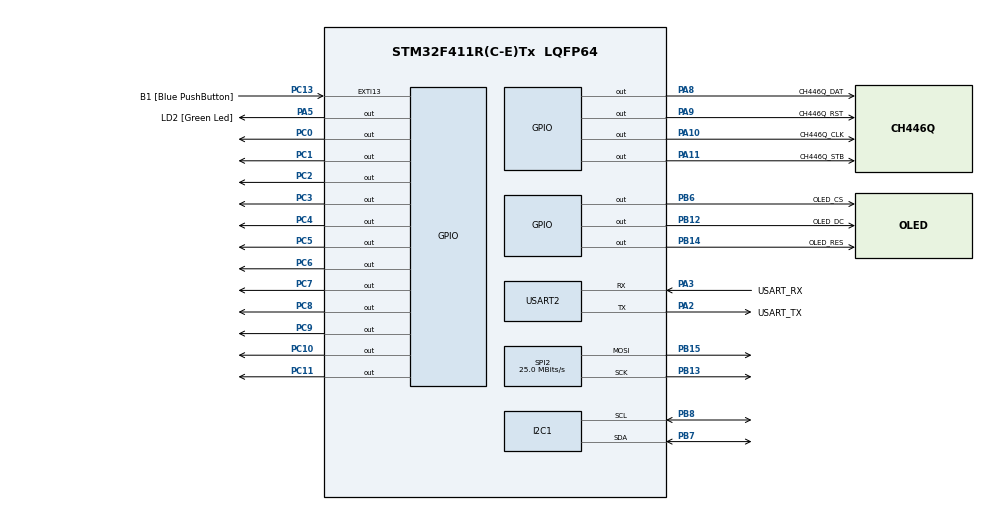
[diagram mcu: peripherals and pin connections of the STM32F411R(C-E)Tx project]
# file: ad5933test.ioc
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FREERTOS.BinarySemaphores01=myBinarySem01,Dynamic,NULL;myBinarySem02,Dynamic,NULL
FREERTOS.Tasks01=defaultTask,8,128,StartDefaultTask,Default,NULL,Dynamic,NULL,NULL;myTask02,48,1024,StartTask02,Default,NULL,Dynamic,NULL,NULL;myTask03,24,1024,StartTask03,Default,NULL,Dynamic,NULL,NULL;myTask04,8,1024,StartTask04,Default,NULL,Dynamic,NULL,NULL
FREERTOS.configUSE_NEWLIB_REENTRANT=1
Mcu.Family=STM32F4
Mcu.Name=STM32F411R(C-E)Tx
Mcu.Package=LQFP64
NVIC.PriorityGroup=NVIC_PRIORITYGROUP_4
NVIC.USART2_IRQn=true\:8\:0\:true\:false\:true\:true\:true\:true\:true
PA10.GPIO_Label=CH446Q_CLK
PA10.GPIO_PuPd=GPIO_PULLUP
PA10.Signal=GPIO_Output
PA11.GPIO_Label=CH446Q_STB
PA11.GPIO_PuPd=GPIO_PULLUP
PA11.Signal=GPIO_Output
PA13.GPIO_Label=TMS
PA13.Mode=Serial_Wire
PA13.Signal=SYS_JTMS-SWDIO
PA14.GPIO_Label=TCK
PA14.Mode=Serial_Wire
PA14.Signal=SYS_JTCK-SWCLK
PA2.GPIO_Label=USART_TX
PA2.Mode=Asynchronous
PA2.Signal=USART2_TX
PA3.GPIO_Label=USART_RX
PA3.Mode=Asynchronous
PA3.Signal=USART2_RX
PA5.GPIO_Label=LD2 [Green Led]
PA5.Signal=GPIO_Output
PA8.GPIO_Label=CH446Q_DAT
PA8.GPIO_PuPd=GPIO_PULLUP
PA8.Signal=GPIO_Output
PA9.GPIO_Label=CH446Q_RST
PA9.GPIO_PuPd=GPIO_PULLUP
PA9.Signal=GPIO_Output
PB12.GPIO_Label=OLED_DC
PB12.GPIO_PuPd=GPIO_PULLUP
PB12.GPIO_Speed=GPIO_SPEED_FREQ_VERY_HIGH
PB12.Signal=GPIO_Output
PB13.Mode=TX_Only_Simplex_Unidirect_Master
PB13.Signal=SPI2_SCK
PB14.GPIO_Label=OLED_RES
PB14.GPIO_PuPd=GPIO_PULLUP
PB14.GPIO_Speed=GPIO_SPEED_FREQ_VERY_HIGH
PB14.Signal=GPIO_Output
PB15.Mode=TX_Only_Simplex_Unidirect_Master
PB15.Signal=SPI2_MOSI
PB3.GPIO_Label=SWO
PB3.Signal=SYS_JTDO-SWO
PB6.GPIO_Label=OLED_CS
PB6.GPIO_PuPd=GPIO_PULLUP
PB6.Signal=GPIO_Output
PB7.Mode=I2C
PB7.Signal=I2C1_SDA
PB8.Mode=I2C
PB8.Signal=I2C1_SCL
PC0.GPIO_PuPd=GPIO_PULLUP
PC0.GPIO_Speed=GPIO_SPEED_FREQ_HIGH
PC0.Signal=GPIO_Output
PC1.GPIO_PuPd=GPIO_PULLUP
PC1.GPIO_Speed=GPIO_SPEED_FREQ_HIGH
PC1.Signal=GPIO_Output
PC10.Signal=GPIO_Output
PC11.Signal=GPIO_Output
PC13-ANTI_TAMP.GPIO_Label=B1 [Blue PushButton]
PC13-ANTI_TAMP.GPIO_ModeDefaultEXTI=GPIO_MODE_IT_FALLING
PC13-ANTI_TAMP.Signal=GPXTI13
PC14-OSC32_IN.Mode=LSE-External-Oscillator
PC14-OSC32_IN.Signal=RCC_OSC32_IN
PC15-OSC32_OUT.Mode=LSE-External-Oscillator
PC15-OSC32_OUT.Signal=RCC_OSC32_OUT
PC2.GPIO_PuPd=GPIO_PULLUP
PC2.Signal=GPIO_Output
PC3.GPIO_PuPd=GPIO_PULLUP
PC3.Signal=GPIO_Output
PC4.GPIO_PuPd=GPIO_PULLUP
PC4.Signal=GPIO_Output
PC5.GPIO_PuPd=GPIO_PULLUP
PC5.Signal=GPIO_Output
PC6.GPIO_PuPd=GPIO_PULLUP
PC6.Signal=GPIO_Output
PC7.GPIO_PuPd=GPIO_PULLUP
PC7.Signal=GPIO_Output
PC8.Signal=GPIO_Output
PC9.Signal=GPIO_Output
PH0\ -\ OSC_IN.Mode=HSE-External-Clock-Source
PH0\ -\ OSC_IN.Signal=RCC_OSC_IN
PH1\ -\ OSC_OUT.Mode=HSE-External-Clock-Source
PH1\ -\ OSC_OUT.Signal=RCC_OSC_OUT
ProjectManager.HeapSize=0x200
ProjectManager.StackSize=0x400
ProjectManager.TargetToolchain=STM32CubeIDE
RCC.48MHZClocksFreq_Value=50000000
RCC.AHBFreq_Value=100000000
RCC.APB1CLKDivider=RCC_HCLK_DIV2
RCC.APB1Freq_Value=50000000
RCC.APB1TimFreq_Value=100000000
RCC.APB2Freq_Value=100000000
RCC.APB2TimFreq_Value=100000000
RCC.CortexFreq_Value=100000000
RCC.FLatency-AdvancedSettings=FLASH_LATENCY_3
RCC.HCLKFreq_Value=100000000
RCC.HSE_VALUE=8000000
RCC.HSI_VALUE=16000000
RCC.PLLM=8
RCC.PLLN=100
RCC.SYSCLKFreq_VALUE=100000000
RCC.SYSCLKSource=RCC_SYSCLKSOURCE_PLLCLK
RCC.VCOOutputFreq_Value=200000000
SPI2.BaudRatePrescaler=SPI_BAUDRATEPRESCALER_2
SPI2.CLKPhase=SPI_PHASE_2EDGE
SPI2.CLKPolarity=SPI_POLARITY_HIGH
SPI2.CalculateBaudRate=25.0 MBits/s
SPI2.Direction=SPI_DIRECTION_2LINES
SPI2.Mode=SPI_MODE_MASTER
SPI2.VirtualType=VM_MASTER
TIM4.Period=4
TIM4.Prescaler=99
USART2.VirtualMode=VM_ASYNC
VP_FREERTOS_VS_CMSIS_V2.Mode=CMSIS_V2
VP_TIM4_VS_ClockSourceINT.Mode=Internal
board=NUCLEO-F411RE

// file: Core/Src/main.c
/* USER CODE BEGIN Header */
/**
  ******************************************************************************
  * @file           : main.c
  * @brief          : Main program body
  ******************************************************************************
  * @attention
  *
  * Copyright (c) 2022 STMicroelectronics.
  * All rights reserved.
  *
  * This software is licensed under terms that can be found in the LICENSE file
  * in the root directory of this software component.
  * If no LICENSE file comes with this software, it is provided AS-IS.
  *
  ******************************************************************************
  */
/* USER CODE END Header */
#include "main.h"
#include "cmsis_os.h"
#include "i2c.h"
#include "spi.h"
#include "tim.h"
#include "usart.h"
#include "gpio.h"

/* USER CODE BEGIN Includes */
#include "delay.h"

/* USER CODE END Includes */

void SystemClock_Config(void);
void MX_FREERTOS_Init(void);

int main(void)
{

  /* MCU Configuration--------------------------------------------------------*/

  /* Reset of all peripherals, Initializes the Flash interface and the Systick. */
  HAL_Init();

  /* Configure the system clock */
  SystemClock_Config();

  /* Initialize all configured peripherals */
  MX_GPIO_Init();
  MX_USART2_UART_Init();
  MX_TIM4_Init();
  MX_SPI2_Init();
  MX_I2C1_Init();
  /* USER CODE BEGIN 2 */
  if(DWT_Delay_Init())

{

Error_Handler(); /* Call Error Handler */

}

  /* USER CODE END 2 */

  /* Init scheduler */
  osKernelInitialize();  /* Call init function for freertos objects (in freertos.c) */
  MX_FREERTOS_Init();

  /* Start scheduler */
  osKernelStart();

  /* We should never get here as control is now taken by the scheduler */
  /* Infinite loop */
  while (1)
  {

  }
}

void SystemClock_Config(void)
{
  LL_FLASH_SetLatency(LL_FLASH_LATENCY_3);
  while(LL_FLASH_GetLatency()!= LL_FLASH_LATENCY_3)
  {
  }
  LL_PWR_SetRegulVoltageScaling(LL_PWR_REGU_VOLTAGE_SCALE1);
  LL_RCC_HSI_SetCalibTrimming(16);
  LL_RCC_HSI_Enable();

   /* Wait till HSI is ready */
  while(LL_RCC_HSI_IsReady() != 1)
  {

  }
  LL_RCC_PLL_ConfigDomain_SYS(LL_RCC_PLLSOURCE_HSI, LL_RCC_PLLM_DIV_8, 100, LL_RCC_PLLP_DIV_2);
  LL_RCC_PLL_Enable();

   /* Wait till PLL is ready */
  while(LL_RCC_PLL_IsReady() != 1)
  {

  }
  LL_RCC_SetAHBPrescaler(LL_RCC_SYSCLK_DIV_1);
  LL_RCC_SetAPB1Prescaler(LL_RCC_APB1_DIV_2);
  LL_RCC_SetAPB2Prescaler(LL_RCC_APB2_DIV_1);
  LL_RCC_SetSysClkSource(LL_RCC_SYS_CLKSOURCE_PLL);

   /* Wait till System clock is ready */
  while(LL_RCC_GetSysClkSource() != LL_RCC_SYS_CLKSOURCE_STATUS_PLL)
  {

  }
  LL_SetSystemCoreClock(100000000);

   /* Update the time base */
  if (HAL_InitTick (TICK_INT_PRIORITY) != HAL_OK)
  {
    Error_Handler();
  }
  LL_RCC_SetTIMPrescaler(LL_RCC_TIM_PRESCALER_TWICE);
}

void Error_Handler(void)
{
  __disable_irq();
  while (1)
  {
  }
}

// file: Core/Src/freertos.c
/* USER CODE BEGIN Header */
/**
  ******************************************************************************
  * File Name          : freertos.c
  * Description        : Code for freertos applications
  ******************************************************************************
  * @attention
  *
  * Copyright (c) 2022 STMicroelectronics.
  * All rights reserved.
  *
  * This software is licensed under terms that can be found in the LICENSE file
  * in the root directory of this software component.
  * If no LICENSE file comes with this software, it is provided AS-IS.
  *
  ******************************************************************************
  */
/* USER CODE END Header */

#include "FreeRTOS.h"
#include "task.h"
#include "main.h"
#include "cmsis_os.h"

/* USER CODE BEGIN Includes */
#include <string.h>
#include <stdio.h>
#include "usart.h"
#include "fireWork.h"
#include "bmp.h"
#include <oled_driver.h>
#include <AD5933.h>

#include "delay.h"
/* USER CODE END Includes */

/* USER CODE BEGIN Variables */
ImpeType impe;
/* USER CODE END Variables */
/* Definitions for defaultTask */
osThreadId_t defaultTaskHandle;
const osThreadAttr_t defaultTask_attributes = {
  .name = "defaultTask",
  .stack_size = 128 * 4,
  .priority = (osPriority_t) osPriorityLow,
};
/* Definitions for myTask02 */
osThreadId_t myTask02Handle;
const osThreadAttr_t myTask02_attributes = {
  .name = "myTask02",
  .stack_size = 1024 * 4,
  .priority = (osPriority_t) osPriorityRealtime,
};
/* Definitions for myTask03 */
osThreadId_t myTask03Handle;
const osThreadAttr_t myTask03_attributes = {
  .name = "myTask03",
  .stack_size = 1024 * 4,
  .priority = (osPriority_t) osPriorityNormal,
};
/* Definitions for myTask04 */
osThreadId_t myTask04Handle;
const osThreadAttr_t myTask04_attributes = {
  .name = "myTask04",
  .stack_size = 1024 * 4,
  .priority = (osPriority_t) osPriorityLow,
};
/* Definitions for myBinarySem01 */
osSemaphoreId_t myBinarySem01Handle;
const osSemaphoreAttr_t myBinarySem01_attributes = {
  .name = "myBinarySem01"
};
/* Definitions for myBinarySem02 */
osSemaphoreId_t myBinarySem02Handle;
const osSemaphoreAttr_t myBinarySem02_attributes = {
  .name = "myBinarySem02"
};

void StartDefaultTask(void *argument);
void StartTask02(void *argument);
void StartTask03(void *argument);
void StartTask04(void *argument);

void MX_FREERTOS_Init(void); /* (MISRA C 2004 rule 8.1) */

void MX_FREERTOS_Init(void) {

  /* Create the semaphores(s) */
  /* creation of myBinarySem01 */
  myBinarySem01Handle = osSemaphoreNew(1, 1, &myBinarySem01_attributes);

  /* creation of myBinarySem02 */
  myBinarySem02Handle = osSemaphoreNew(1, 1, &myBinarySem02_attributes);

  /* Create the thread(s) */
  /* creation of defaultTask */
  defaultTaskHandle = osThreadNew(StartDefaultTask, NULL, &defaultTask_attributes);

  /* creation of myTask02 */
  myTask02Handle = osThreadNew(StartTask02, NULL, &myTask02_attributes);

  /* creation of myTask03 */
  myTask03Handle = osThreadNew(StartTask03, NULL, &myTask03_attributes);

  /* creation of myTask04 */
  myTask04Handle = osThreadNew(StartTask04, NULL, &myTask04_attributes);

}

void StartDefaultTask(void *argument)
{
  /* USER CODE BEGIN StartDefaultTask */
  /* Infinite loop */
  for(;;)
  {
	LL_GPIO_TogglePin(LD2_GPIO_Port,LD2_Pin);
	osDelay(500);
  }
  /* USER CODE END StartDefaultTask */
}

void StartTask02(void *argument)
{
  /* USER CODE BEGIN StartTask02 */

	uint8_t iTemp[20];
	float count;
	//uint32_t i=0;
	OLED_Init();
	osDelay(500);

	count = Temperature_Test();

	AD5933_FreInit(10000,100);

	OLED_Clear();
	OLED_DrawBMP(0,0,128,8,(unsigned char *)Bnana_BMP0);//
	osDelay(500);
	OLED_Clear();
	sprintf(iTemp,"t: %.2f deg", count);
	OLED_ShowString(0,4,iTemp);
  /* Infinite loop */
  for(;;)
  {

		AD5933_StartTest(0);
		AD5933_ReadImpedance(&impe);
		sprintf(iTemp,"R: %.2f",impe.Impedance);
		OLED_ShowString(30,0,iTemp);
		sprintf(iTemp,"X: %.2f",impe.Phase);
		OLED_ShowString(30,2,iTemp);

//		adg708set_pin_port(pair_code++);
//		printString("s\n");//repeat the master computer to start metering impedance
//		if(pair_code==4)pair_code=0;
		//HandleContinuousReception();
		osDelay(1000);
  }
  /* USER CODE END StartTask02 */
}

void StartTask03(void *argument)
{
  /* USER CODE BEGIN StartTask03 */
	StartReception();
  /* Infinite loop */
	for(;;)
	{
		osSemaphoreAcquire(myBinarySem01Handle,osWaitForever);
		switch(pycommand)
		{
		case 1:
			printString("one\n");
			break;
		case 2:
			printString("two\n");

			break;
		case 3:
			printString("three\n");
			break;
		default:
			printString("None of the command\n");
		}
		osDelay(1);
	}
  /* USER CODE END StartTask03 */
}

void StartTask04(void *argument)
{
  for(;;)
  {
    osDelay(1);
  }
}
